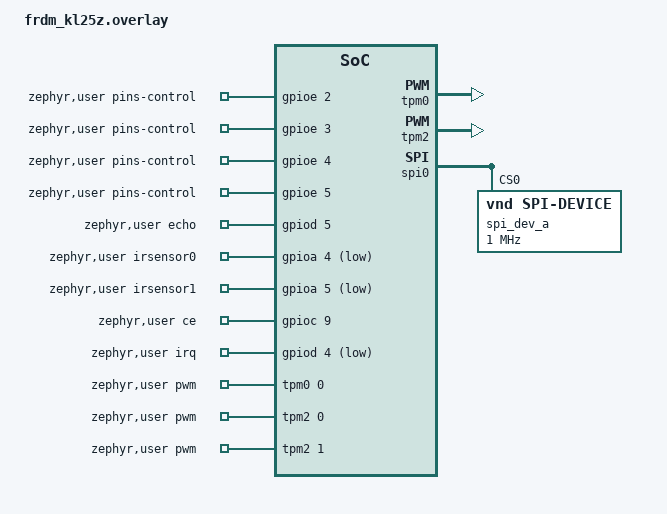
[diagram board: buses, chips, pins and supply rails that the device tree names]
#include <zephyr/dt-bindings/pwm/pwm.h>
#include <zephyr/dt-bindings/clock/kinetis_sim.h>
#include <zephyr/dt-bindings/gpio/gpio.h>

&gpioa { status = "okay"; };
&gpioc { status = "okay"; };
&gpiod { status = "okay"; };
&gpioe { status = "okay"; };

/ {
    zephyr,user {
        pins-control-gpios = <&gpioe 2 GPIO_ACTIVE_HIGH>,
                             <&gpioe 3 GPIO_ACTIVE_HIGH>,
                             <&gpioe 4 GPIO_ACTIVE_HIGH>,
                             <&gpioe 5 GPIO_ACTIVE_HIGH>;

        echo-gpios      = <&gpiod 5 GPIO_ACTIVE_HIGH>;
        irsensor0-gpios = <&gpioa 4 (GPIO_ACTIVE_LOW | GPIO_PULL_UP)>;
        irsensor1-gpios = <&gpioa 5 (GPIO_ACTIVE_LOW | GPIO_PULL_UP)>;
        ce-gpios        = <&gpioc 9 GPIO_ACTIVE_HIGH>;
        irq-gpios       = <&gpiod 4 (GPIO_ACTIVE_LOW | GPIO_PULL_UP)>;

        pwms = <&tpm0 0 PWM_MSEC(60) PWM_POLARITY_NORMAL>,   /* idx 0: trigger ultrassom */
               <&tpm2 0 PWM_USEC(40) PWM_POLARITY_NORMAL>,   /* idx 1: motor esquerdo, 25 kHz */
               <&tpm2 1 PWM_USEC(40) PWM_POLARITY_NORMAL>;   /* idx 2: motor direito, 25 kHz */

    };
};

&tpm0 {
    prescaler = <64>;

    status = "okay";
};

&tpm2 {
    prescaler = <16>;

    status = "okay";
};

&spi0 {
    spi_dev_a: nrf24@0 {
        compatible = "vnd,spi-device";
        reg = <0>;
        spi-max-frequency = <1000000>;
        status = "okay";
    };
};

